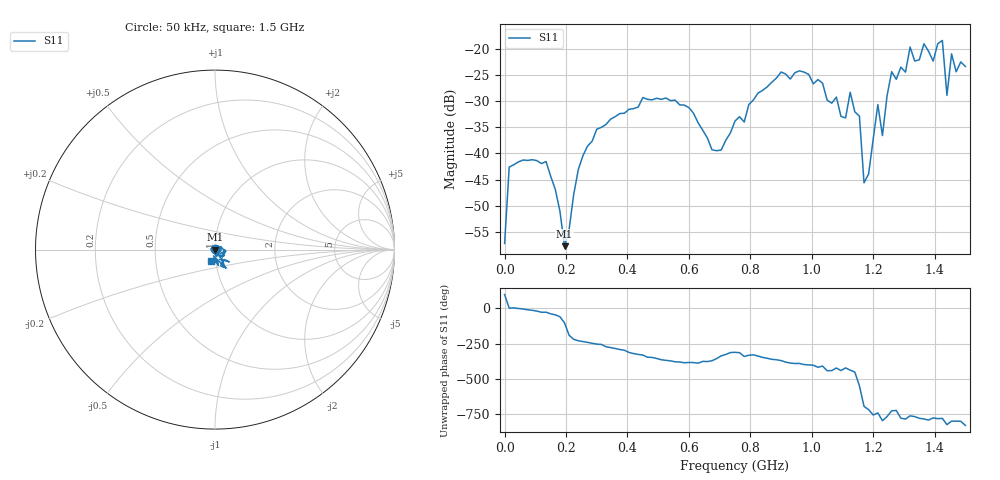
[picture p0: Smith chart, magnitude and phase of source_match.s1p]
! Created with skrf 1.8.0 (http://scikit-rf.org).
# Hz S RI R 50.0
!freq ReS11 ImS11
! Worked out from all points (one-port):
!   101 points, 50 kHz to 1.5 GHz, reference 50 ohm
!   lowest |S11| = -57.8 dB at 195 MHz (marker M1), VSWR 1.00, Z = 50 - j0.126 ohm
!   |S11| at or under -10 dB: start of sweep to end of sweep
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50000  -0.000181 0.00136
1.50495e7  0.0074 0.000156
9.0047e7  0.00844 -0.00211
1.350455e8  0.00741 -0.00385
1.650445e8  0.00314 -0.00325
1.950435e8  -0.000285 -0.00126
2.550415e8  -0.00543 0.00781
3.750375e8  0.00879 0.0224
5.70031e8  0.0274 -0.00989
6.750275e8  0.0106 -0.00208
7.50025e8  0.0135 0.0153
9.450185e8  0.0509 -0.0301
1.035016e9  0.031 -0.0353
1.095014e9  0.00377 -0.0223
1.125012e9  0.00834 -0.0375
1.155012e9  -0.0225 0.00318
1.170011e9  0.00469 0.00232
1.18501e9  0.00635 0.000294
1.21501e9  0.0275 -0.0102
1.230009e9  0.00376 -0.0143
1.260008e9  0.0602 -0.00543
1.305006e9  0.0264 -0.0538
1.320006e9  0.0789 -0.0681
1.395004e9  0.0434 -0.0629
1.425002e9  0.0621 -0.1031
1.440002e9  -0.00835 -0.0349
1.455002e9  0.0185 -0.0877
1.5e9  -0.0221 -0.0642
